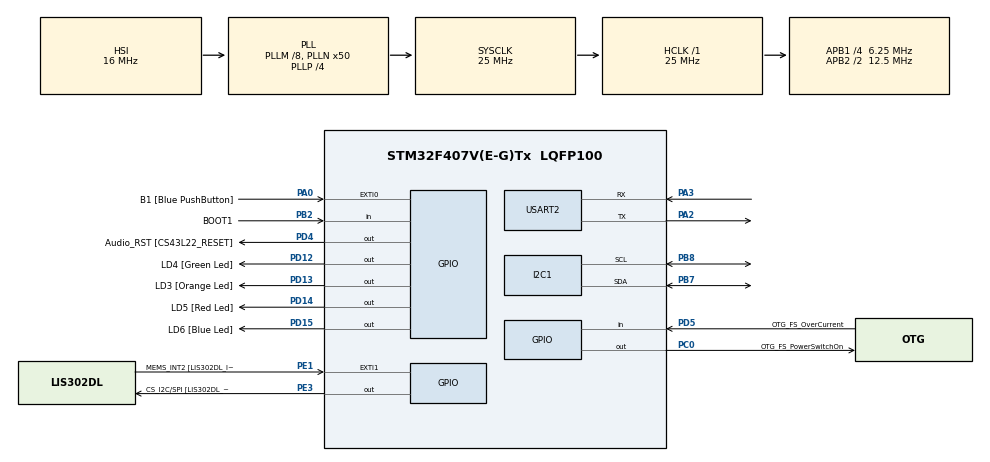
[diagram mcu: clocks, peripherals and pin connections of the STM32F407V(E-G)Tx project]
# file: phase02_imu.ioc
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Mcu.Family=STM32F4
Mcu.Name=STM32F407V(E-G)Tx
Mcu.Package=LQFP100
NVIC.PriorityGroup=NVIC_PRIORITYGROUP_0
PA0-WKUP.GPIO_Label=B1 [Blue PushButton]
PA0-WKUP.Signal=GPXTI0
PA10.GPIO_Label=OTG_FS_ID
PA10.GPIO_Mode=GPIO_MODE_AF_PP
PA10.GPIO_PuPd=GPIO_NOPULL
PA10.GPIO_Speed=GPIO_SPEED_FREQ_LOW
PA10.Signal=USB_OTG_FS_ID
PA11.GPIO_Label=OTG_FS_DM
PA11.GPIO_Mode=GPIO_MODE_AF_PP
PA11.GPIO_PuPd=GPIO_NOPULL
PA11.GPIO_Speed=GPIO_SPEED_FREQ_LOW
PA11.Signal=USB_OTG_FS_DM
PA12.GPIO_Label=OTG_FS_DP
PA12.GPIO_Mode=GPIO_MODE_AF_PP
PA12.GPIO_PuPd=GPIO_NOPULL
PA12.GPIO_Speed=GPIO_SPEED_FREQ_LOW
PA12.Signal=USB_OTG_FS_DP
PA13.GPIO_Label=SWDIO
PA13.Signal=SYS_JTMS-SWDIO
PA14.GPIO_Label=SWCLK
PA14.Signal=SYS_JTCK-SWCLK
PA2.Mode=Asynchronous
PA2.Signal=USART2_TX
PA3.Mode=Asynchronous
PA3.Signal=USART2_RX
PA4.GPIO_Label=I2S3_WS [CS43L22_LRCK]
PA4.GPIO_Mode=GPIO_MODE_AF_PP
PA4.GPIO_PuPd=GPIO_NOPULL
PA4.GPIO_Speed=GPIO_SPEED_FREQ_LOW
PA4.Signal=I2S3_WS
PA5.GPIO_Label=SPI1_SCK [LIS302DL_SCL/SPC]
PA5.GPIO_Mode=GPIO_MODE_AF_PP
PA5.GPIO_PuPd=GPIO_NOPULL
PA5.GPIO_Speed=GPIO_SPEED_FREQ_LOW
PA5.Signal=SPI1_SCK
PA6.GPIO_Label=SPI1_MISO [LIS302DL_SDO]
PA6.GPIO_Mode=GPIO_MODE_AF_PP
PA6.GPIO_PuPd=GPIO_NOPULL
PA6.GPIO_Speed=GPIO_SPEED_FREQ_LOW
PA6.Signal=SPI1_MISO
PA7.GPIO_Label=SPI1_MOSI [LIS302DL_SDA/SDI/SDO]
PA7.GPIO_Mode=GPIO_MODE_AF_PP
PA7.GPIO_PuPd=GPIO_NOPULL
PA7.GPIO_Speed=GPIO_SPEED_FREQ_LOW
PA7.Signal=SPI1_MOSI
PA9.GPIO_Label=VBUS_FS
PA9.GPIO_Mode=GPIO_MODE_INPUT
PA9.GPIO_PuPd=GPIO_NOPULL
PA9.Signal=USB_OTG_FS_VBUS
PB10.GPIO_Label=CLK_IN [MP45DT02_CLK]
PB10.GPIO_Mode=GPIO_MODE_AF_PP
PB10.GPIO_PuPd=GPIO_NOPULL
PB10.GPIO_Speed=GPIO_SPEED_FREQ_LOW
PB10.Signal=I2S2_CK
PB2.GPIO_Label=BOOT1
PB2.GPIO_Mode=GPIO_MODE_INPUT
PB2.GPIO_PuPd=GPIO_NOPULL
PB2.Signal=GPIO_Input
PB3.GPIO_Label=SWO
PB3.Signal=SYS_JTDO-SWO
PB7.Mode=I2C
PB7.Signal=I2C1_SDA
PB8.Mode=I2C
PB8.Signal=I2C1_SCL
PC0.GPIO_Label=OTG_FS_PowerSwitchOn
PC0.GPIO_PuPd=GPIO_NOPULL
PC0.GPIO_Speed=GPIO_SPEED_FREQ_LOW
PC0.PinState=GPIO_PIN_SET
PC0.Signal=GPIO_Output
PC10.GPIO_Label=I2S3_SCK [CS43L22_SCLK]
PC10.GPIO_Mode=GPIO_MODE_AF_PP
PC10.GPIO_PuPd=GPIO_NOPULL
PC10.GPIO_Speed=GPIO_SPEED_FREQ_LOW
PC10.Signal=I2S3_CK
PC12.GPIO_Label=I2S3_SD [CS43L22_SDIN]
PC12.GPIO_Mode=GPIO_MODE_AF_PP
PC12.GPIO_PuPd=GPIO_NOPULL
PC12.GPIO_Speed=GPIO_SPEED_FREQ_LOW
PC12.Signal=I2S3_SD
PC14-OSC32_IN.GPIO_Label=PC14-OSC32_IN
PC14-OSC32_IN.Signal=RCC_OSC32_IN
PC15-OSC32_OUT.GPIO_Label=PC15-OSC32_OUT
PC15-OSC32_OUT.Signal=RCC_OSC32_OUT
PC3.GPIO_Label=PDM_OUT [MP45DT02_DOUT]
PC3.GPIO_Mode=GPIO_MODE_AF_PP
PC3.GPIO_PuPd=GPIO_NOPULL
PC3.GPIO_Speed=GPIO_SPEED_FREQ_LOW
PC3.Signal=I2S2_SD
PC7.GPIO_Label=I2S3_MCK [CS43L22_MCLK]
PC7.GPIO_Mode=GPIO_MODE_AF_PP
PC7.GPIO_PuPd=GPIO_NOPULL
PC7.GPIO_Speed=GPIO_SPEED_FREQ_LOW
PC7.Signal=I2S3_MCK
PD12.GPIO_Label=LD4 [Green Led]
PD12.GPIO_PuPd=GPIO_NOPULL
PD12.GPIO_Speed=GPIO_SPEED_FREQ_LOW
PD12.Signal=GPIO_Output
PD13.GPIO_Label=LD3 [Orange Led]
PD13.GPIO_PuPd=GPIO_NOPULL
PD13.GPIO_Speed=GPIO_SPEED_FREQ_LOW
PD13.Signal=GPIO_Output
PD14.GPIO_Label=LD5 [Red Led]
PD14.GPIO_PuPd=GPIO_NOPULL
PD14.GPIO_Speed=GPIO_SPEED_FREQ_LOW
PD14.Signal=GPIO_Output
PD15.GPIO_Label=LD6 [Blue Led]
PD15.GPIO_PuPd=GPIO_NOPULL
PD15.GPIO_Speed=GPIO_SPEED_FREQ_LOW
PD15.Signal=GPIO_Output
PD4.GPIO_Label=Audio_RST [CS43L22_RESET]
PD4.GPIO_PuPd=GPIO_NOPULL
PD4.GPIO_Speed=GPIO_SPEED_FREQ_LOW
PD4.Signal=GPIO_Output
PD5.GPIO_Label=OTG_FS_OverCurrent
PD5.GPIO_Mode=GPIO_MODE_INPUT
PD5.GPIO_PuPd=GPIO_NOPULL
PD5.Signal=GPIO_Input
PE1.GPIO_Label=MEMS_INT2 [LIS302DL_INT2]
PE1.GPIO_ModeDefaultEXTI=GPIO_MODE_EVT_RISING
PE1.GPIO_PuPd=GPIO_NOPULL
PE1.Signal=GPXTI1
PE3.GPIO_Label=CS_I2C/SPI [LIS302DL_CS_I2C/SPI]
PE3.GPIO_PuPd=GPIO_NOPULL
PE3.GPIO_Speed=GPIO_SPEED_FREQ_LOW
PE3.Signal=GPIO_Output
PH0-OSC_IN.GPIO_Label=PH0-OSC_IN
PH0-OSC_IN.Mode=HSE-External-Oscillator
PH0-OSC_IN.Signal=RCC_OSC_IN
PH1-OSC_OUT.GPIO_Label=PH1-OSC_OUT
PH1-OSC_OUT.Mode=HSE-External-Oscillator
PH1-OSC_OUT.Signal=RCC_OSC_OUT
ProjectManager.HeapSize=0x200
ProjectManager.StackSize=0x400
ProjectManager.TargetToolchain=STM32CubeIDE
RCC.48MHZClocksFreq_Value=14285714.285714285
RCC.AHBFreq_Value=25000000
RCC.APB1CLKDivider=RCC_HCLK_DIV4
RCC.APB1Freq_Value=6250000
RCC.APB1TimFreq_Value=12500000
RCC.APB2CLKDivider=RCC_HCLK_DIV2
RCC.APB2Freq_Value=12500000
RCC.APB2TimFreq_Value=25000000
RCC.CortexFreq_Value=25000000
RCC.HCLKFreq_Value=25000000
RCC.HSE_VALUE=8000000
RCC.HSI_VALUE=16000000
RCC.LSE_VALUE=32768
RCC.PLLM=8
RCC.PLLN=50
RCC.PLLP=RCC_PLLP_DIV4
RCC.PLLQ=7
RCC.SYSCLKFreq_VALUE=25000000
RCC.SYSCLKSource=RCC_SYSCLKSOURCE_PLLCLK
RCC.VCOOutputFreq_Value=100000000
USART2.VirtualMode=VM_ASYNC
board=STM32F407G-DISC1

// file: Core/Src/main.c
/* USER CODE BEGIN Header */
/**
  ******************************************************************************
  * @file           : main.c
  * @brief          : Main program body
  ******************************************************************************
  * @attention
  *
  * Copyright (c) 2026 STMicroelectronics.
  * All rights reserved.
  *
  * This software is licensed under terms that can be found in the LICENSE file
  * in the root directory of this software component.
  * If no LICENSE file comes with this software, it is provided AS-IS.
  *
  ******************************************************************************
  */
/* USER CODE END Header */
#include "main.h"

/* USER CODE BEGIN Includes */
#include <stdio.h>
#include <string.h>
#include <math.h>
/* USER CODE END Includes */

/* USER CODE BEGIN PD */
#define MPU6050_ADDR          (0x68 << 1)  // 7-bit addr 0x68, shifted for HAL (see note)
#define REG_WHO_AM_I          0x75
#define REG_PWR_MGMT_1        0x6B
#define REG_ACCEL_XOUT_H      0x3B
#define REG_GYRO_XOUT_H       0x43
#ifndef M_PI
#define M_PI 3.14159265358979323846f
#endif
/* USER CODE END PD */

I2C_HandleTypeDef hi2c1;

UART_HandleTypeDef huart2;

void SystemClock_Config(void);
static void MX_GPIO_Init(void);
static void MX_I2C1_Init(void);
static void MX_USART2_UART_Init(void);

/* USER CODE BEGIN 0 */
// ---- Kalman filter: 2 states (angle, gyro bias) ----
float Q_angle   = 0.001f;   // process noise on the angle
float Q_bias    = 0.003f;   // process noise on the bias
float R_measure = 0.1f;    // accel measurement noise
float kalAngle  = 0.0f;     // filtered angle (output)
float kalBias   = 0.0f;     // estimated gyro bias (tracked live)
float P[2][2]   = { {0, 0}, {0, 0} };   // uncertainty of [angle, bias]

float kalman(float newAngle, float newRate, float dt) {
    // ---- PREDICT: advance the angle with the gyro, grow the uncertainty ----
    float rate = newRate - kalBias;     // remove the estimated bias
    kalAngle += dt * rate;              // integrate to predict

    P[0][0] += dt * (dt*P[1][1] - P[0][1] - P[1][0] + Q_angle);
    P[0][1] -= dt * P[1][1];
    P[1][0] -= dt * P[1][1];
    P[1][1] += Q_bias * dt;

    // ---- UPDATE: correct with the accelerometer ----
    float S  = P[0][0] + R_measure;     // total expected error
    float K0 = P[0][0] / S;             // Kalman gain for angle
    float K1 = P[1][0] / S;             // Kalman gain for bias

    float y = newAngle - kalAngle;      // innovation: measured - predicted
    kalAngle += K0 * y;                 // correct angle
    kalBias  += K1 * y;                 // correct bias

    float P00 = P[0][0], P01 = P[0][1]; // shrink the uncertainty
    P[0][0] -= K0 * P00;
    P[0][1] -= K0 * P01;
    P[1][0] -= K1 * P00;
    P[1][1] -= K1 * P01;

    return kalAngle;
}
/* USER CODE END 0 */
int main(void)
{

  /* MCU Configuration--------------------------------------------------------*/

  /* Reset of all peripherals, Initializes the Flash interface and the Systick. */
  HAL_Init();

  /* Configure the system clock */
  SystemClock_Config();

  /* Initialize all configured peripherals */
  MX_GPIO_Init();
  MX_I2C1_Init();
  MX_USART2_UART_Init();
  /* USER CODE BEGIN 2 */
  // --- variables that must live for the WHOLE program (the loop uses them) ---
  uint8_t who = 0, zero = 0x00;
  uint8_t buf[6];
  char msg[64];
  float roll = 0.0f;        // fused angle (deg) — persists across loops
  float gyroAngle = 0.0f;   // gyro-only angle (deg) — comparison line
  float gxBias = 0.0f;      // gyro-X resting bias (raw counts)
  uint32_t lastTick = 0;
  kalAngle = roll;   // NOTE: roll is still 0 here (it is seeded from the accel further down),
                     // so the Kalman angle starts at 0 deg and converges from the accelerometer.

  // Ask the sensor "who are you?" — 0x68 = MPU6050, 0x70 = MPU6500
  HAL_I2C_Mem_Read(&hi2c1, MPU6050_ADDR, REG_WHO_AM_I, I2C_MEMADD_SIZE_8BIT, &who, 1, 100);

  if (who == 0x68 || who == 0x70) {
      HAL_UART_Transmit(&huart2, (uint8_t*)"MPU6050 found.\r\n", 16, 100);
      HAL_I2C_Mem_Write(&hi2c1, MPU6050_ADDR, REG_PWR_MGMT_1, I2C_MEMADD_SIZE_8BIT, &zero, 1, 100);

      // --- Calibrate gyro bias: KEEP THE SENSOR STILL for ~2 seconds ---
      HAL_UART_Transmit(&huart2, (uint8_t*)"Calibrating - keep still...\r\n", 29, 100);
      int32_t sum = 0;
      for (int i = 0; i < 2000; i++) {
          HAL_I2C_Mem_Read(&hi2c1, MPU6050_ADDR, REG_GYRO_XOUT_H, I2C_MEMADD_SIZE_8BIT, buf, 6, 100);
          sum += (int16_t)((buf[0] << 8) | buf[1]);
          HAL_Delay(1);
      }
      gxBias = sum / 2000.0f;

      // --- Seed the fused angle from the accelerometer ---
      HAL_I2C_Mem_Read(&hi2c1, MPU6050_ADDR, REG_ACCEL_XOUT_H, I2C_MEMADD_SIZE_8BIT, buf, 6, 100);
      int16_t ay0 = (int16_t)((buf[2] << 8) | buf[3]);
      int16_t az0 = (int16_t)((buf[4] << 8) | buf[5]);
      roll = atan2f((float)ay0, (float)az0) * 180.0f / M_PI;
      gyroAngle = roll;
      lastTick = HAL_GetTick();
  } else {
      sprintf(msg, "MPU6050 NOT found (got 0x%02X)\r\n", who);
      HAL_UART_Transmit(&huart2, (uint8_t*)msg, strlen(msg), 100);
  }
  /* USER CODE END 2 */

  /* Infinite loop */
  while (1)
  {

    /* USER CODE BEGIN 3 */
    // 1) Read accel (absolute angle) + gyro-X (rate)
    HAL_I2C_Mem_Read(&hi2c1, MPU6050_ADDR, REG_ACCEL_XOUT_H, I2C_MEMADD_SIZE_8BIT, buf, 6, 100);
    int16_t ay = (int16_t)((buf[2] << 8) | buf[3]);
    int16_t az = (int16_t)((buf[4] << 8) | buf[5]);
    HAL_I2C_Mem_Read(&hi2c1, MPU6050_ADDR, REG_GYRO_XOUT_H,  I2C_MEMADD_SIZE_8BIT, buf, 6, 100);
    int16_t gx = (int16_t)((buf[0] << 8) | buf[1]);

    // 2) Real elapsed time this loop (seconds)
    uint32_t now = HAL_GetTick();
    float dt = (now - lastTick) / 1000.0f;
    lastTick = now;

    // 3) Accel angle (deg)
    float rollAcc = atan2f((float)ay, (float)az) * 180.0f / M_PI;

    // 4) Gyro rate (deg/s), bias removed
    float gyroRate = (gx - gxBias) / 131.0f;

    // 5) Gyro-only integrated angle (drifts — comparison line)
    gyroAngle += gyroRate * dt;

    // 6) Complementary filter
    float alpha = 0.98f;
    roll = alpha * (roll + gyroRate * dt) + (1.0f - alpha) * rollAcc;
    // Kalman fused angle — uses the SAME bias-corrected gyroRate you fixed
    float rollKalman = kalman(rollAcc, gyroRate, dt);
    // 7) CSV: time_ms, accel, gyro-only, complementary, kalman
    char line[80];
    sprintf(line, "%lu,%.2f,%.2f,%.2f,%.2f\r\n",
            (unsigned long)now, rollAcc, gyroAngle, roll, rollKalman);
    HAL_UART_Transmit(&huart2, (uint8_t*)line, strlen(line), 100);

    HAL_Delay(10);   // 10 ms pause; with the blocking I2C reads and UART print, the logged
                     // runs show a 15-16 ms loop period (~62-67 Hz), not 100 Hz.
  }
  /* USER CODE END 3 */

  /* USER CODE END 3 */
}

void SystemClock_Config(void)
{
  RCC_OscInitTypeDef RCC_OscInitStruct = {0};
  RCC_ClkInitTypeDef RCC_ClkInitStruct = {0};

  /** Configure the main internal regulator output voltage
  */
  __HAL_RCC_PWR_CLK_ENABLE();
  __HAL_PWR_VOLTAGESCALING_CONFIG(PWR_REGULATOR_VOLTAGE_SCALE1);

  /** Initializes the RCC Oscillators according to the specified parameters
  * in the RCC_OscInitTypeDef structure.
  */
  RCC_OscInitStruct.OscillatorType = RCC_OSCILLATORTYPE_HSI;
  RCC_OscInitStruct.HSIState = RCC_HSI_ON;
  RCC_OscInitStruct.HSICalibrationValue = RCC_HSICALIBRATION_DEFAULT;
  RCC_OscInitStruct.PLL.PLLState = RCC_PLL_ON;
  RCC_OscInitStruct.PLL.PLLSource = RCC_PLLSOURCE_HSI;
  RCC_OscInitStruct.PLL.PLLM = 8;
  RCC_OscInitStruct.PLL.PLLN = 50;
  RCC_OscInitStruct.PLL.PLLP = RCC_PLLP_DIV4;
  RCC_OscInitStruct.PLL.PLLQ = 7;
  if (HAL_RCC_OscConfig(&RCC_OscInitStruct) != HAL_OK)
  {
    Error_Handler();
  }

  /** Initializes the CPU, AHB and APB buses clocks
  */
  RCC_ClkInitStruct.ClockType = RCC_CLOCKTYPE_HCLK|RCC_CLOCKTYPE_SYSCLK
                              |RCC_CLOCKTYPE_PCLK1|RCC_CLOCKTYPE_PCLK2;
  RCC_ClkInitStruct.SYSCLKSource = RCC_SYSCLKSOURCE_PLLCLK;
  RCC_ClkInitStruct.AHBCLKDivider = RCC_SYSCLK_DIV1;
  RCC_ClkInitStruct.APB1CLKDivider = RCC_HCLK_DIV4;
  RCC_ClkInitStruct.APB2CLKDivider = RCC_HCLK_DIV2;

  if (HAL_RCC_ClockConfig(&RCC_ClkInitStruct, FLASH_LATENCY_0) != HAL_OK)
  {
    Error_Handler();
  }
}

static void MX_I2C1_Init(void)
{

  hi2c1.Instance = I2C1;
  hi2c1.Init.ClockSpeed = 100000;
  hi2c1.Init.DutyCycle = I2C_DUTYCYCLE_2;
  hi2c1.Init.OwnAddress1 = 0;
  hi2c1.Init.AddressingMode = I2C_ADDRESSINGMODE_7BIT;
  hi2c1.Init.DualAddressMode = I2C_DUALADDRESS_DISABLE;
  hi2c1.Init.OwnAddress2 = 0;
  hi2c1.Init.GeneralCallMode = I2C_GENERALCALL_DISABLE;
  hi2c1.Init.NoStretchMode = I2C_NOSTRETCH_DISABLE;
  if (HAL_I2C_Init(&hi2c1) != HAL_OK)
  {
    Error_Handler();
  }

}

static void MX_USART2_UART_Init(void)
{

  huart2.Instance = USART2;
  huart2.Init.BaudRate = 115200;
  huart2.Init.WordLength = UART_WORDLENGTH_8B;
  huart2.Init.StopBits = UART_STOPBITS_1;
  huart2.Init.Parity = UART_PARITY_NONE;
  huart2.Init.Mode = UART_MODE_TX_RX;
  huart2.Init.HwFlowCtl = UART_HWCONTROL_NONE;
  huart2.Init.OverSampling = UART_OVERSAMPLING_16;
  if (HAL_UART_Init(&huart2) != HAL_OK)
  {
    Error_Handler();
  }

}

static void MX_GPIO_Init(void)
{
  GPIO_InitTypeDef GPIO_InitStruct = {0};

  /* GPIO Ports Clock Enable */
  __HAL_RCC_GPIOE_CLK_ENABLE();
  __HAL_RCC_GPIOC_CLK_ENABLE();
  __HAL_RCC_GPIOH_CLK_ENABLE();
  __HAL_RCC_GPIOA_CLK_ENABLE();
  __HAL_RCC_GPIOB_CLK_ENABLE();
  __HAL_RCC_GPIOD_CLK_ENABLE();

  /*Configure GPIO pin Output Level */
  HAL_GPIO_WritePin(CS_I2C_SPI_GPIO_Port, CS_I2C_SPI_Pin, GPIO_PIN_RESET);

  /*Configure GPIO pin Output Level */
  HAL_GPIO_WritePin(OTG_FS_PowerSwitchOn_GPIO_Port, OTG_FS_PowerSwitchOn_Pin, GPIO_PIN_SET);

  /*Configure GPIO pin Output Level */
  HAL_GPIO_WritePin(GPIOD, LD4_Pin|LD3_Pin|LD5_Pin|LD6_Pin
                          |Audio_RST_Pin, GPIO_PIN_RESET);

  /*Configure GPIO pin : CS_I2C_SPI_Pin */
  GPIO_InitStruct.Pin = CS_I2C_SPI_Pin;
  GPIO_InitStruct.Mode = GPIO_MODE_OUTPUT_PP;
  GPIO_InitStruct.Pull = GPIO_NOPULL;
  GPIO_InitStruct.Speed = GPIO_SPEED_FREQ_LOW;
  HAL_GPIO_Init(CS_I2C_SPI_GPIO_Port, &GPIO_InitStruct);

  /*Configure GPIO pin : OTG_FS_PowerSwitchOn_Pin */
  GPIO_InitStruct.Pin = OTG_FS_PowerSwitchOn_Pin;
  GPIO_InitStruct.Mode = GPIO_MODE_OUTPUT_PP;
  GPIO_InitStruct.Pull = GPIO_NOPULL;
  GPIO_InitStruct.Speed = GPIO_SPEED_FREQ_LOW;
  HAL_GPIO_Init(OTG_FS_PowerSwitchOn_GPIO_Port, &GPIO_InitStruct);

  /*Configure GPIO pin : PDM_OUT_Pin */
  GPIO_InitStruct.Pin = PDM_OUT_Pin;
  GPIO_InitStruct.Mode = GPIO_MODE_AF_PP;
  GPIO_InitStruct.Pull = GPIO_NOPULL;
  GPIO_InitStruct.Speed = GPIO_SPEED_FREQ_LOW;
  GPIO_InitStruct.Alternate = GPIO_AF5_SPI2;
  HAL_GPIO_Init(PDM_OUT_GPIO_Port, &GPIO_InitStruct);

  /*Configure GPIO pin : B1_Pin */
  GPIO_InitStruct.Pin = B1_Pin;
  GPIO_InitStruct.Mode = GPIO_MODE_IT_RISING;
  GPIO_InitStruct.Pull = GPIO_NOPULL;
  HAL_GPIO_Init(B1_GPIO_Port, &GPIO_InitStruct);

  /*Configure GPIO pin : I2S3_WS_Pin */
  GPIO_InitStruct.Pin = I2S3_WS_Pin;
  GPIO_InitStruct.Mode = GPIO_MODE_AF_PP;
  GPIO_InitStruct.Pull = GPIO_NOPULL;
  GPIO_InitStruct.Speed = GPIO_SPEED_FREQ_LOW;
  GPIO_InitStruct.Alternate = GPIO_AF6_SPI3;
  HAL_GPIO_Init(I2S3_WS_GPIO_Port, &GPIO_InitStruct);

  /*Configure GPIO pins : SPI1_SCK_Pin SPI1_MISO_Pin SPI1_MOSI_Pin */
  GPIO_InitStruct.Pin = SPI1_SCK_Pin|SPI1_MISO_Pin|SPI1_MOSI_Pin;
  GPIO_InitStruct.Mode = GPIO_MODE_AF_PP;
  GPIO_InitStruct.Pull = GPIO_NOPULL;
  GPIO_InitStruct.Speed = GPIO_SPEED_FREQ_LOW;
  GPIO_InitStruct.Alternate = GPIO_AF5_SPI1;
  HAL_GPIO_Init(GPIOA, &GPIO_InitStruct);

  /*Configure GPIO pin : BOOT1_Pin */
  GPIO_InitStruct.Pin = BOOT1_Pin;
  GPIO_InitStruct.Mode = GPIO_MODE_INPUT;
  GPIO_InitStruct.Pull = GPIO_NOPULL;
  HAL_GPIO_Init(BOOT1_GPIO_Port, &GPIO_InitStruct);

  /*Configure GPIO pin : CLK_IN_Pin */
  GPIO_InitStruct.Pin = CLK_IN_Pin;
  GPIO_InitStruct.Mode = GPIO_MODE_AF_PP;
  GPIO_InitStruct.Pull = GPIO_NOPULL;
  GPIO_InitStruct.Speed = GPIO_SPEED_FREQ_LOW;
  GPIO_InitStruct.Alternate = GPIO_AF5_SPI2;
  HAL_GPIO_Init(CLK_IN_GPIO_Port, &GPIO_InitStruct);

  /*Configure GPIO pins : LD4_Pin LD3_Pin LD5_Pin LD6_Pin
                           Audio_RST_Pin */
  GPIO_InitStruct.Pin = LD4_Pin|LD3_Pin|LD5_Pin|LD6_Pin
                          |Audio_RST_Pin;
  GPIO_InitStruct.Mode = GPIO_MODE_OUTPUT_PP;
  GPIO_InitStruct.Pull = GPIO_NOPULL;
  GPIO_InitStruct.Speed = GPIO_SPEED_FREQ_LOW;
  HAL_GPIO_Init(GPIOD, &GPIO_InitStruct);

  /*Configure GPIO pins : I2S3_MCK_Pin I2S3_SCK_Pin I2S3_SD_Pin */
  GPIO_InitStruct.Pin = I2S3_MCK_Pin|I2S3_SCK_Pin|I2S3_SD_Pin;
  GPIO_InitStruct.Mode = GPIO_MODE_AF_PP;
  GPIO_InitStruct.Pull = GPIO_NOPULL;
  GPIO_InitStruct.Speed = GPIO_SPEED_FREQ_LOW;
  GPIO_InitStruct.Alternate = GPIO_AF6_SPI3;
  HAL_GPIO_Init(GPIOC, &GPIO_InitStruct);

  /*Configure GPIO pin : VBUS_FS_Pin */
  GPIO_InitStruct.Pin = VBUS_FS_Pin;
  GPIO_InitStruct.Mode = GPIO_MODE_INPUT;
  GPIO_InitStruct.Pull = GPIO_NOPULL;
  HAL_GPIO_Init(VBUS_FS_GPIO_Port, &GPIO_InitStruct);

  /*Configure GPIO pins : OTG_FS_ID_Pin OTG_FS_DM_Pin OTG_FS_DP_Pin */
  GPIO_InitStruct.Pin = OTG_FS_ID_Pin|OTG_FS_DM_Pin|OTG_FS_DP_Pin;
  GPIO_InitStruct.Mode = GPIO_MODE_AF_PP;
  GPIO_InitStruct.Pull = GPIO_NOPULL;
  GPIO_InitStruct.Speed = GPIO_SPEED_FREQ_LOW;
  GPIO_InitStruct.Alternate = GPIO_AF10_OTG_FS;
  HAL_GPIO_Init(GPIOA, &GPIO_InitStruct);

  /*Configure GPIO pin : OTG_FS_OverCurrent_Pin */
  GPIO_InitStruct.Pin = OTG_FS_OverCurrent_Pin;
  GPIO_InitStruct.Mode = GPIO_MODE_INPUT;
  GPIO_InitStruct.Pull = GPIO_NOPULL;
  HAL_GPIO_Init(OTG_FS_OverCurrent_GPIO_Port, &GPIO_InitStruct);

  /*Configure GPIO pin : MEMS_INT2_Pin */
  GPIO_InitStruct.Pin = MEMS_INT2_Pin;
  GPIO_InitStruct.Mode = GPIO_MODE_EVT_RISING;
  GPIO_InitStruct.Pull = GPIO_NOPULL;
  HAL_GPIO_Init(MEMS_INT2_GPIO_Port, &GPIO_InitStruct);

}

void Error_Handler(void)
{
  __disable_irq();
  while (1)
  {
  }
}
